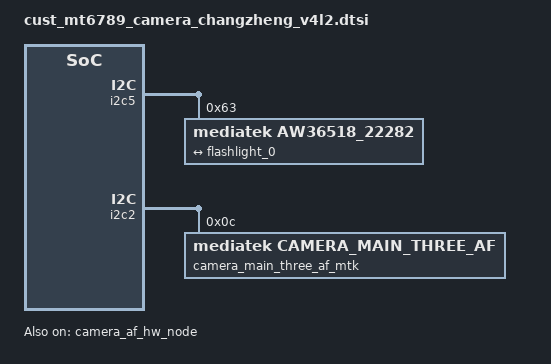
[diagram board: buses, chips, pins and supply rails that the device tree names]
// SPDX-License-Identifier: GPL-2.0
/* Copyright (c) 2020 MediaTek Inc. */

&i2c5 {
	aw36518_22282:aw36518_22282@63 {
		compatible = "mediatek,aw36518_22282";
		reg = <0x63>;
		#cooling-cells = <2>;
		pinctrl-names = "default", "hwen_high", "hwen_low";
		pinctrl-0 = <&aw36518_pins_default>;
		pinctrl-1 = <&aw36518_pins_hwen_high>;
		pinctrl-2 = <&aw36518_pins_hwen_low>;
		status = "okay";
		decouple = <1>;
		flash@0{
			reg = <0>;
			type = <0>;
			ct = <0>;
			part = <0>;
			port@0 {
				fl_core_0: endpoint {
					remote-endpoint = <&flashlight_0>;
				};
			};
		};
	};
};

&pio {
	aw36518_pins_default: default {
	};

	aw36518_pins_hwen_high: hwen_high {
		pins_cmd_dat {
			pinmux = <PINMUX_GPIO157__FUNC_GPIO157>;
			slew-rate = <1>;
			output-high;
		};
	};

	aw36518_pins_hwen_low: hwen_low {
		pins_cmd_dat {
			pinmux = <PINMUX_GPIO157__FUNC_GPIO157>;
			slew-rate = <1>;
			output-low;
		};
	};
};

&mtk_composite_v4l2_1 {
	port@0 {
		flashlight_0: endpoint {
			remote-endpoint = <&fl_core_0>;
		};
	};
};

/* CAMERA AF */
/*
&i2c8 {
	camera_main_af_mtk:camera_main_af@72 {
		compatible = "mediatek,camera_main_af";
		reg = <0x72>;
		status = "okay";
	};
};
*/
&i2c2 {
	camera_main_three_af_mtk:camera_main_three_af@0c {
		compatible = "mediatek,camera_main_three_af";
		reg = <0x0c>;
		status = "okay";
	};
};

&camera_af_hw_node {
	camaf_m1_pmic-supply = <&rt5133_ldo3>;
	camaf_m3_pmic-supply = <&rt5133_gpio1>;
	status = "okay";
};
/* CAMERA AF end */
